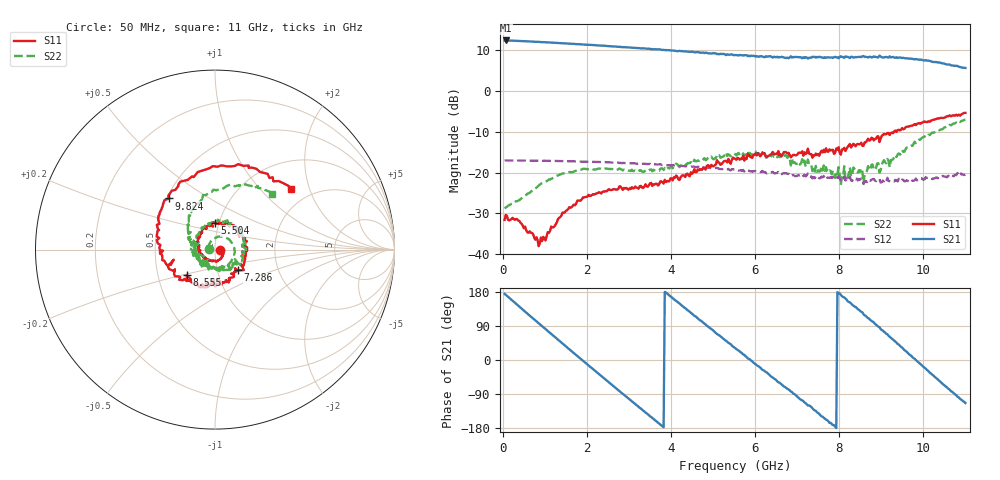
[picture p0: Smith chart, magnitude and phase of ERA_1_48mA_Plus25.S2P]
! Mini-Circuits
! S2P DATA File Format
! Type: MMIC Amplifier
! Model: ERA-1  Reference Data:RDF-960
! Note: All S Parameters are in dB deg format
! TEST CONDITIONS: INPUT POWER = -15dBm, Icc = 48mA, Vd = 3.49V @Temperature = +25degC
# MHz S DB R 50
!  FREQ  dB(S11)  PHS(S11)  dB(S21)  PHS(S21)  dB(S12)  PHS(S12)  dB(S22)  PHS(S22)
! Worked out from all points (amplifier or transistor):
!   401 points, 50 MHz to 11 GHz, reference 50 ohm
!   highest |S21| = 12.5 dB at 77 MHz (marker M1)
!   |S21| within 3 dB of that: start of sweep to 4.693 GHz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
!   unconditionally stable (mu >= 1): start of sweep to end of sweep
!   at 1.832 GHz: K = 1.22, MAG = 11.6 dB, |S12| = -17.3 dB
!   at 5.45 GHz: K = 1.71, MAG = 9.2 dB, |S12| = -19.2 dB
!   at 11 GHz: K = 1.64, MAG = 8.4 dB, |S12| = -20.5 dB
!   S11 on the Smith chart (normalised r, x): 50 MHz: 1.05, -0.00; 5.504 GHz: 0.95, +0.29; 7.286 GHz: 1.25, -0.30; 8.555 GHz: 0.70, -0.21; 9.824 GHz: 0.51, +0.34; 11 GHz: 1.57, +1.51
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50  -31.59 -1.6  12.42 174.6  -17.00 -4.2  -28.80 170.9
77  -30.37 0.0  12.45 172.2  -17.01 -6.0  -28.56 167.6
536  -33.24 -22.6  12.26 127.8  -17.03 -39.7  -25.63 115.2
941  -36.80 2.2  12.05 89.0  -17.07 -69.6  -22.57 76.3
1454  -29.84 9.0  11.74 40.8  -17.17 -107.5  -20.16 32.9
1886  -26.53 -18.1  11.46 0.6  -17.29 -139.4  -19.19 -3.6
2777  -23.38 -81.4  10.87 -81.7  -17.63 154.1  -19.00 -78.0
3182  -23.65 -109.1  10.60 -118.7  -17.78 124.2  -19.63 -115.5
3722  -22.90 -141.8  10.29 -167.7  -17.98 84.3  -19.54 -165.2
4640  -19.22 157.1  9.59 110.0  -18.57 16.5  -17.03 117.0
5504  -16.51 90.3  8.85 33.7  -19.25 -48.0  -15.28 57.4
5531  -16.62 88.4  8.86 31.3  -19.27 -50.0  -15.46 55.0
5990  -15.64 57.2  8.67 -9.1  -19.64 -82.4  -15.27 29.5
6584  -15.66 10.8  8.39 -59.6  -20.29 -127.1  -16.17 -13.0
7286  -15.32 -42.0  8.20 -120.1  -20.84 -179.6  -17.99 -64.2
7367  -16.32 -42.8  8.45 -127.1  -21.41 175.1  -19.64 -69.9
7988  -13.75 -89.5  8.08 176.2  -20.83 133.3  -18.66 -108.2
8555  -13.43 -137.8  8.56 125.9  -21.47 86.3  -19.74 -169.9
9203  -10.76 -178.8  8.56 61.3  -22.09 44.6  -18.73 159.0
9824  -8.34 131.9  7.90 0.1  -21.45 7.4  -12.76 124.9
10436  -6.55 84.3  6.91 -60.4  -20.92 -34.9  -9.39 84.3
11003  -5.33 38.9  5.71 -113.5  -20.46 -74.2  -7.02 44.3
